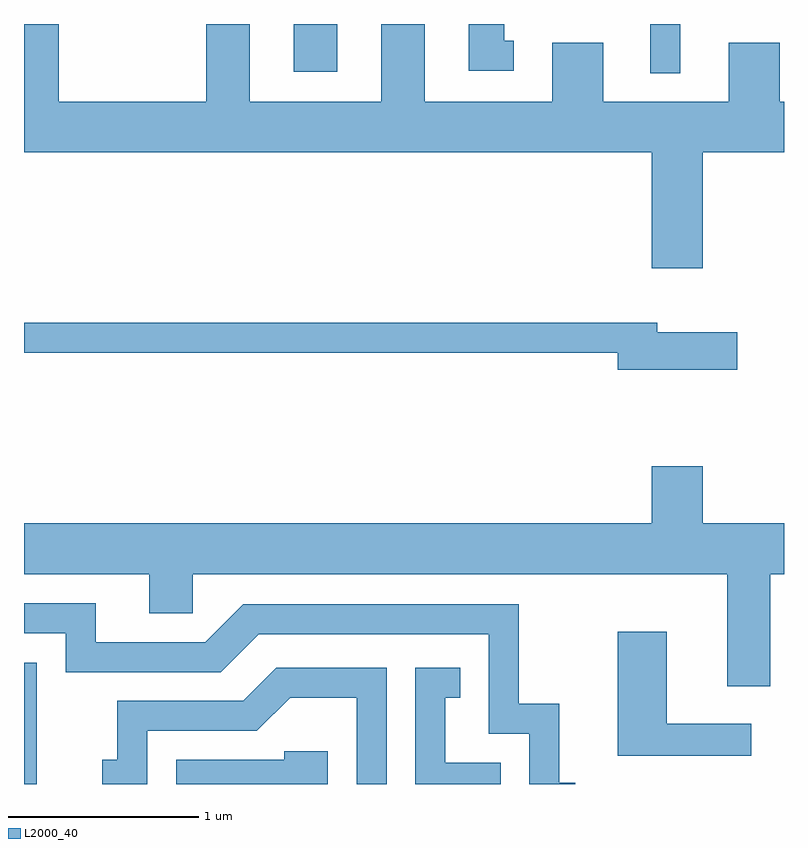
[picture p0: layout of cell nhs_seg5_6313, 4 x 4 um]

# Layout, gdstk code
import gdstk
lib = gdstk.Library(unit=1e-6, precision=1e-09)
def R(c, l, rs):  # rectangles x0, y0, x1, y1
    for r in rs: c.add(gdstk.rectangle(r[:2], r[2:], *l))
def P(c, l, *ps):  # polygons
    for p in ps: c.add(gdstk.Polygon(p, *l))
L2000_40 = (2000, 40)

nhs_seg5_6313 = lib.new_cell('nhs_seg5_6313')
R(nhs_seg5_6313, L2000_40, [(371.611,1520.072,371.679,1520.709), (374.906,1523.813,375.064,1524.072), (373.031,1523.821,373.259,1524.072)])
P(nhs_seg5_6313, L2000_40, [(375.184,1523.396),(375.611,1523.396),(375.611,1523.664),(375.589,1523.664),(375.589,1523.974),(375.321,1523.974),(375.321,1523.664),(374.659,1523.664),(374.659,1523.974),(374.391,1523.974),(374.391,1523.664),(373.719,1523.664),(373.719,1524.072),(373.491,1524.072),(373.491,1523.664),(372.799,1523.664),(372.799,1524.072),(372.571,1524.072),(372.571,1523.664),(371.794,1523.664),(371.794,1524.072),(371.611,1524.072),(371.611,1523.396),(374.916,1523.396),(374.916,1522.786),(375.184,1522.786)],
  [(374.188,1523.984),(374.139,1523.984),(374.139,1524.072),(373.951,1524.072),(373.951,1523.826),(374.188,1523.826)],
  [(375.364,1522.449),(374.944,1522.449),(374.944,1522.499),(371.611,1522.499),(371.611,1522.341),(374.736,1522.341),(374.736,1522.251),(375.364,1522.251)],
  [(375.539,1521.176),(375.611,1521.176),(375.611,1521.444),(375.184,1521.444),(375.184,1521.744),(374.916,1521.744),(374.916,1521.444),(371.611,1521.444),(371.611,1521.176),(372.271,1521.176),(372.271,1520.971),(372.499,1520.971),(372.499,1521.176),(375.311,1521.176),(375.311,1520.586),(375.539,1520.586)],
  [(374.513,1520.079),(374.429,1520.079),(374.429,1520.494),(374.214,1520.494),(374.214,1521.019),(372.764,1521.019),(372.564,1520.819),(371.989,1520.819),(371.989,1521.024),(371.611,1521.024),(371.611,1520.866),(371.831,1520.866),(371.831,1520.661),(372.647,1520.661),(372.847,1520.861),(374.056,1520.861),(374.056,1520.336),(374.271,1520.336),(374.271,1520.072),(374.513,1520.072)],
  [(375.438,1520.389),(374.994,1520.389),(374.994,1520.874),(374.736,1520.874),(374.736,1520.221),(375.438,1520.221)],
  [(374.119,1520.184),(373.829,1520.184),(373.829,1520.526),(373.908,1520.526),(373.908,1520.684),(373.671,1520.684),(373.671,1520.072),(374.119,1520.072)],
  [(372.259,1520.351),(372.837,1520.351),(373.012,1520.526),(373.361,1520.526),(373.361,1520.072),(373.519,1520.072),(373.519,1520.684),(372.939,1520.684),(372.764,1520.509),(372.101,1520.509),(372.101,1520.199),(372.023,1520.199),(372.023,1520.072),(372.259,1520.072)],
  [(373.209,1520.244),(372.981,1520.244),(372.981,1520.199),(372.411,1520.199),(372.411,1520.072),(373.209,1520.072)])

lib.write_gds('nhs_seg5_6313.gds')
